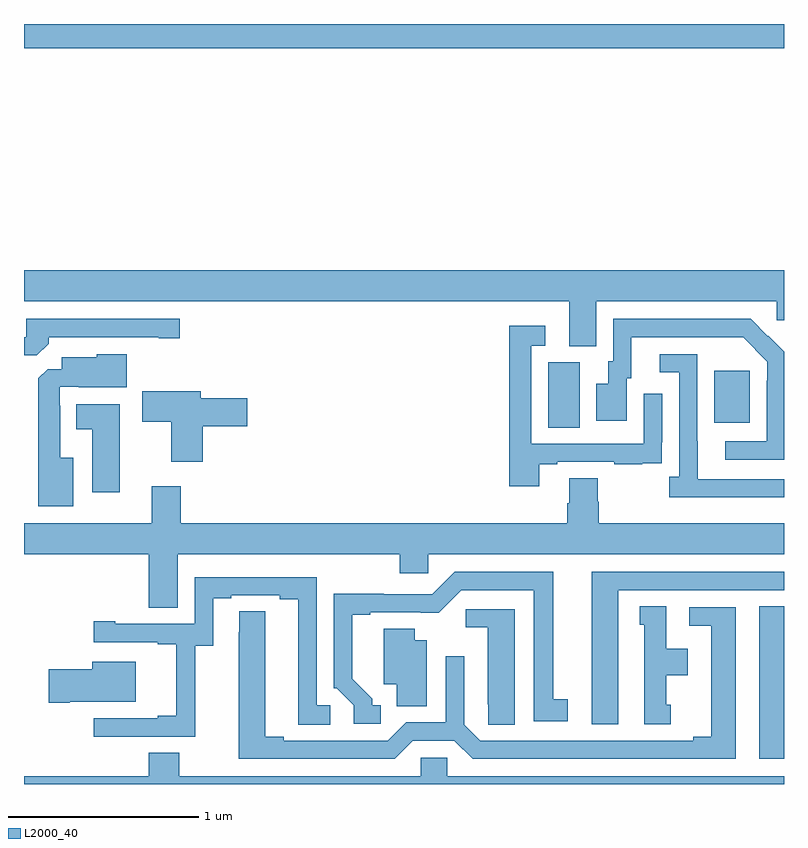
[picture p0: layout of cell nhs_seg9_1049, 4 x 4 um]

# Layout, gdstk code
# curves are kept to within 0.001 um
import gdstk
lib = gdstk.Library(unit=1e-6, precision=1e-09)
def R(c, l, rs):  # rectangles x0, y0, x1, y1
    for r in rs: c.add(gdstk.rectangle(r[:2], r[2:], *l))
def P(c, l, *ps):  # polygons
    for p in ps: c.add(gdstk.Polygon(p, *l))
L2000_40 = (2000, 40)

nhs_seg9_1049 = lib.new_cell('nhs_seg9_1049')
R(nhs_seg9_1049, L2000_40, [(170.87,1240.632,171,1241.435), (169.76,1242.376,169.924,1242.72), (170.633,1242.401,170.821,1242.676), (167,1244.372,171,1244.5)])
P(nhs_seg9_1049, L2000_40, [(170.011,1243.04),(170.961,1243.04),(170.961,1242.942),(171,1242.942),(171,1243.204),(167,1243.204),(167,1243.04),(169.871,1243.04),(169.871,1242.805),(170.011,1242.805)],
  [(171,1242.774),(170.824,1242.948),(170.1,1242.948),(170.1,1242.726),(170.075,1242.726),(170.075,1242.607),(170.012,1242.607),(170.012,1242.411),(170.173,1242.411),(170.173,1242.636),(170.197,1242.636),(170.197,1242.852),(170.785,1242.852),(170.913,1242.723),(170.913,1242.623),(170.91,1242.623),(170.91,1242.303),(170.691,1242.303),(170.691,1242.207),(171,1242.207)],
  [(167.129,1242.818),(167.129,1242.852),(167.708,1242.852),(167.708,1242.847),(167.821,1242.847),(167.821,1242.948),(167.013,1242.948),(167.013,1242.852),(167,1242.852),(167,1242.756),(167.067,1242.756)],
  [(169.711,1242.183),(169.807,1242.183),(169.807,1242.195),(170.107,1242.195),(170.107,1242.183),(170.255,1242.183),(170.255,1242.189),(170.357,1242.189),(170.357,1242.298),(170.358,1242.298),(170.358,1242.553),(170.262,1242.553),(170.262,1242.291),(169.671,1242.291),(169.671,1242.807),(169.744,1242.807),(169.744,1242.913),(169.555,1242.913),(169.555,1242.066),(169.711,1242.066)],
  [(167.26,1242.217),(167.191,1242.217),(167.191,1242.491),(167.187,1242.491),(167.187,1242.591),(167.287,1242.591),(167.287,1242.587),(167.542,1242.587),(167.542,1242.763),(167.382,1242.763),(167.382,1242.745),(167.198,1242.745),(167.198,1242.684),(167.124,1242.684),(167.075,1242.635),(167.075,1241.963),(167.26,1241.963)],
  [(171,1242.105),(170.545,1242.105),(170.545,1242.305),(170.544,1242.305),(170.544,1242.762),(170.346,1242.762),(170.346,1242.666),(170.448,1242.666),(170.448,1242.118),(170.397,1242.118),(170.397,1242.008),(171,1242.008)],
  [(167.942,1242.383),(168.175,1242.383),(168.175,1242.53),(167.929,1242.53),(167.929,1242.568),(167.622,1242.568),(167.622,1242.406),(167.774,1242.406),(167.774,1242.195),(167.942,1242.195)],
  [(167.503,1242.499),(167.276,1242.499),(167.276,1242.368),(167.36,1242.368),(167.36,1242.036),(167.503,1242.036)],
  [(167.809,1241.708),(168.977,1241.708),(168.977,1241.61),(169.128,1241.61),(169.128,1241.708),(171,1241.708),(171,1241.872),(170.024,1241.872),(170.024,1241.985),(170.019,1241.985),(170.019,1242.11),(169.871,1242.11),(169.871,1241.978),(169.859,1241.978),(169.859,1241.872),(167.825,1241.872),(167.825,1242.067),(167.672,1242.067),(167.672,1241.872),(167,1241.872),(167,1241.708),(167.657,1241.708),(167.657,1241.428),(167.809,1241.428)],
  [(168.877,1240.914),(168.832,1240.914),(168.832,1240.949),(168.727,1241.054),(168.727,1241.391),(168.823,1241.391),(168.823,1241.403),(169.184,1241.402),(169.302,1241.52),(169.682,1241.52),(169.682,1240.83),(169.861,1240.83),(169.861,1240.946),(169.786,1240.946),(169.786,1241.616),(169.266,1241.616),(169.149,1241.499),(168.893,1241.499),(168.893,1241.501),(168.63,1241.501),(168.63,1241.004),(168.645,1241.004),(168.735,1240.914),(168.735,1240.818),(168.877,1240.818)],
  [(170.128,1241.52),(171,1241.52),(171,1241.616),(169.988,1241.616),(169.988,1240.815),(170.128,1240.815)],
  [(167.901,1241.227),(167.995,1241.227),(167.995,1241.478),(168.091,1241.478),(168.091,1241.493),(168.347,1241.493),(168.347,1241.473),(168.443,1241.473),(168.443,1240.813),(168.613,1240.813),(168.613,1240.914),(168.54,1240.914),(168.54,1241.589),(167.898,1241.589),(167.898,1241.343),(167.479,1241.343),(167.479,1241.356),(167.367,1241.356),(167.367,1241.247),(167.705,1241.247),(167.705,1241.235),(167.801,1241.235),(167.801,1240.858),(167.705,1240.858),(167.705,1240.845),(167.367,1240.845),(167.367,1240.749),(167.901,1240.749)],
  [(170.404,1240.917),(170.38,1240.917),(170.38,1241.072),(170.494,1241.072),(170.494,1241.212),(170.38,1241.212),(170.38,1241.435),(170.24,1241.435),(170.24,1241.337),(170.264,1241.337),(170.264,1240.815),(170.404,1240.815)],
  [(169.047,1240.728),(169.265,1240.728),(169.361,1240.632),(170.746,1240.632),(170.746,1241.43),(170.502,1241.43),(170.502,1241.334),(170.618,1241.334),(170.618,1240.748),(170.522,1240.748),(170.522,1240.728),(169.401,1240.728),(169.317,1240.812),(169.317,1241.173),(169.221,1241.173),(169.221,1240.824),(169.011,1240.824),(168.915,1240.728),(168.367,1240.728),(168.367,1240.748),(168.271,1240.748),(168.271,1241.408),(168.132,1241.408),(168.131,1240.632),(168.951,1240.632)],
  [(169.582,1241.421),(169.326,1241.421),(169.326,1241.324),(169.442,1241.324),(169.442,1240.921),(169.443,1240.921),(169.443,1240.813),(169.582,1240.813)],
  [(169.12,1241.257),(169.057,1241.257),(169.057,1241.318),(168.893,1241.318),(168.893,1241.024),(168.962,1241.024),(168.962,1240.909),(169.12,1240.909)],
  [(167.242,1240.934),(167.587,1240.934),(167.587,1241.143),(167.36,1241.143),(167.36,1241.105),(167.13,1241.105),(167.13,1240.927),(167.242,1240.927)],
  [(171,1240.54),(169.227,1240.54),(169.227,1240.638),(169.089,1240.638),(169.089,1240.54),(167.817,1240.54),(167.817,1240.664),(167.657,1240.664),(167.657,1240.54),(167,1240.54),(167,1240.5),(171,1240.5)])

lib.write_gds('nhs_seg9_1049.gds')
